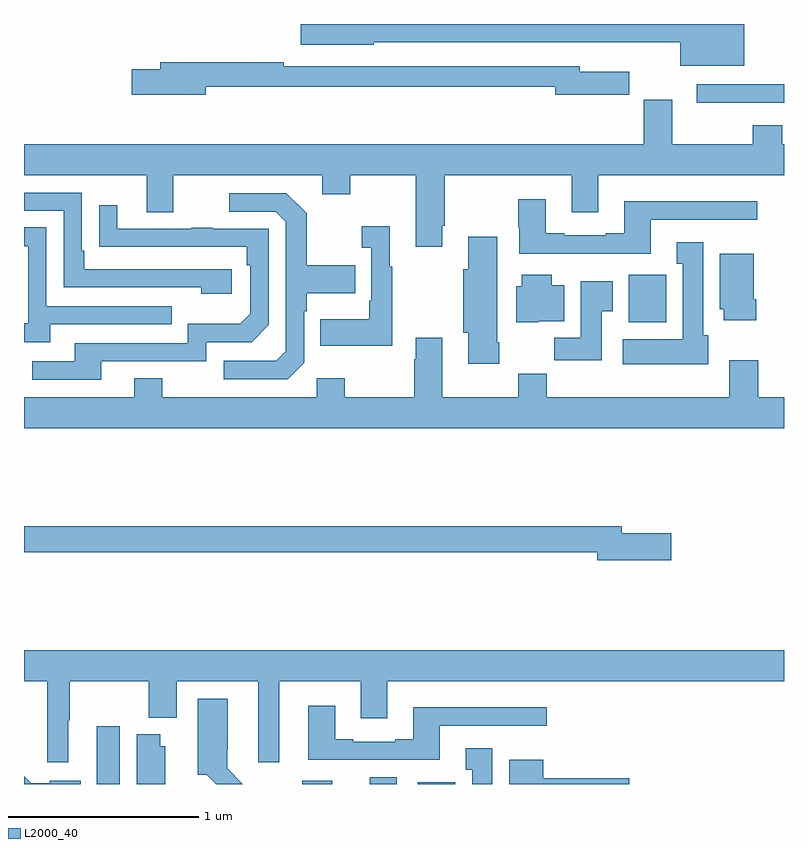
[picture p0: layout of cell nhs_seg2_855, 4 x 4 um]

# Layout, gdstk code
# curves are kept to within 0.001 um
import gdstk
lib = gdstk.Library(unit=1e-6, precision=1e-09)
def R(c, l, rs):  # rectangles x0, y0, x1, y1
    for r in rs: c.add(gdstk.rectangle(r[:2], r[2:], *l))
def P(c, l, *ps):  # polygons
    for p in ps: c.add(gdstk.Polygon(p, *l))
L2000_40 = (2000, 40)

nhs_seg2_855 = lib.new_cell('nhs_seg2_855')
R(nhs_seg2_855, L2000_40, [(155.384,609.8,155.503,610.105), (156.464,609.8,156.622,609.817), (156.821,609.8,156.961,609.835), (157.073,609.8,157.27,609.808), (158.183,612.23,158.379,612.481), (158.541,613.386,159,613.482)])
P(nhs_seg2_855, L2000_40, [(158.791,613.8),(156.456,613.8),(156.456,613.691),(156.84,613.691),(156.84,613.704),(158.02,613.704),(158.02,613.703),(158.453,613.703),(158.453,613.58),(158.791,613.58)],
  [(155.956,613.47),(157.796,613.47),(157.796,613.427),(158.072,613.427),(158.072,613.428),(158.185,613.428),(158.185,613.549),(157.924,613.549),(157.924,613.578),(156.368,613.578),(156.368,613.598),(155.717,613.598),(155.717,613.562),(155.568,613.562),(155.568,613.427),(155.956,613.427)],
  [(155,613.004),(155.645,613.004),(155.645,612.81),(155.785,612.81),(155.785,613.004),(156.569,613.004),(156.569,612.905),(156.717,612.905),(156.717,613.004),(157.061,613.004),(157.061,612.627),(157.201,612.627),(157.201,612.739),(157.214,612.739),(157.214,613.004),(157.883,613.004),(157.883,612.81),(158.023,612.81),(158.023,613.004),(159,613.004),(159,613.168),(158.991,613.168),(158.991,613.267),(158.836,613.267),(158.836,613.168),(158.413,613.168),(158.413,613.402),(158.261,613.402),(158.261,613.168),(155,613.168)],
  [(156.094,612.51),(155.317,612.51),(155.317,612.607),(155.304,612.607),(155.304,612.912),(155,612.912),(155,612.816),(155.208,612.816),(155.208,612.414),(155.933,612.414),(155.933,612.38),(156.094,612.38)],
  [(156.474,612.018),(156.474,612.287),(156.487,612.287),(156.487,612.383),(156.743,612.383),(156.743,612.531),(156.487,612.531),(156.487,612.803),(156.381,612.909),(156.081,612.909),(156.081,612.813),(156.324,612.813),(156.378,612.759),(156.378,612.078),(156.327,612.027),(156.051,612.027),(156.051,611.931),(156.387,611.931)],
  [(158.299,612.771),(158.86,612.771),(158.86,612.868),(158.159,612.868),(158.159,612.7),(158.063,612.7),(158.063,612.687),(157.843,612.687),(157.843,612.7),(157.747,612.7),(157.747,612.877),(157.6,612.877),(157.6,612.729),(157.607,612.729),(157.607,612.59),(158.299,612.59)],
  [(155.407,612.024),(155.958,612.024),(155.958,612.126),(156.198,612.126),(156.288,612.216),(156.288,612.723),(155.993,612.723),(155.993,612.728),(155.881,612.728),(155.881,612.723),(155.491,612.723),(155.491,612.847),(155.395,612.847),(155.395,612.628),(156.172,612.627),(156.172,612.53),(156.192,612.53),(156.192,612.276),(156.139,612.223),(155.862,612.223),(155.862,612.12),(155.267,612.12),(155.267,612.024),(155.043,612.024),(155.043,611.928),(155.407,611.928)],
  [(156.937,612.523),(156.925,612.523),(156.925,612.736),(156.777,612.736),(156.777,612.623),(156.828,612.623),(156.828,612.343),(156.816,612.343),(156.816,612.247),(156.559,612.247),(156.559,612.107),(156.937,612.107)],
  [(155.137,612.219),(155.777,612.219),(155.777,612.315),(155.118,612.315),(155.118,612.731),(155,612.731),(155,612.63),(155.022,612.63),(155.022,612.225),(155,612.225),(155,612.125),(155.137,612.125)],
  [(157.5,612.124),(157.492,612.124),(157.492,612.679),(157.337,612.679),(157.337,612.51),(157.313,612.51),(157.313,612.174),(157.337,612.174),(157.337,612.012),(157.5,612.012)],
  [(158.602,612.162),(158.575,612.162),(158.575,612.652),(158.435,612.652),(158.435,612.539),(158.468,612.539),(158.468,612.142),(158.151,612.142),(158.151,612.008),(158.602,612.008)],
  [(158.855,612.352),(158.842,612.352),(158.842,612.592),(158.663,612.592),(158.663,612.3),(158.684,612.3),(158.684,612.24),(158.855,612.24)],
  [(157.71,612.236),(157.843,612.236),(157.843,612.424),(157.777,612.424),(157.777,612.481),(157.619,612.481),(157.619,612.42),(157.592,612.42),(157.592,612.23),(157.71,612.23)],
  [(158.041,612.289),(158.098,612.289),(158.098,612.445),(157.931,612.445),(157.931,612.148),(157.792,612.148),(157.792,612.03),(158.041,612.03)],
  [(158.711,612.031),(158.711,611.836),(157.751,611.836),(157.751,611.96),(157.6,611.96),(157.6,611.836),(157.201,611.836),(157.201,612.148),(157.061,612.148),(157.061,612.035),(157.054,612.035),(157.054,611.836),(156.687,611.836),(156.687,611.935),(156.54,611.935),(156.54,611.836),(155.727,611.836),(155.727,611.935),(155.579,611.935),(155.579,611.836),(155,611.836),(155,611.672),(159,611.672),(159,611.836),(158.864,611.836),(158.864,612.031)],
  [(158.407,611.12),(158.146,611.12),(158.146,611.156),(155,611.156),(155,611.02),(158.018,611.02),(158.018,610.978),(158.407,610.978)],
  [(155.233,610.136),(155.241,610.136),(155.241,610.34),(155.656,610.34),(155.656,610.148),(155.803,610.148),(155.803,610.34),(156.233,610.34),(156.233,609.915),(156.343,609.915),(156.343,610.34),(156.773,610.34),(156.773,610.146),(156.913,610.146),(156.913,610.34),(159,610.34),(159,610.504),(155,610.504),(155,610.34),(155.123,610.34),(155.123,609.915),(155.233,609.915)],
  [(156.069,609.883),(156.069,609.982),(156.073,609.982),(156.073,610.249),(155.915,610.249),(155.915,609.85),(155.963,609.85),(156.013,609.8),(156.152,609.8)],
  [(157.189,610.107),(157.75,610.107),(157.75,610.204),(157.049,610.204),(157.049,610.036),(156.953,610.036),(156.953,610.023),(156.733,610.023),(156.733,610.036),(156.637,610.036),(156.637,610.213),(156.497,610.213),(156.497,609.927),(157.189,609.927)],
  [(155.743,609.999),(155.716,609.999),(155.716,610.063),(155.594,610.063),(155.594,609.8),(155.743,609.8)],
  [(157.465,609.988),(157.325,609.988),(157.325,609.875),(157.358,609.875),(157.358,609.8),(157.465,609.8)],
  [(158.185,609.83),(157.732,609.83),(157.732,609.928),(157.553,609.928),(157.553,609.8),(158.185,609.8)],
  [(155.299,609.817),(155.136,609.817),(155.136,609.805),(155.037,609.805),(155,609.842),(155,609.8),(155.299,609.8)])

lib.write_gds('nhs_seg2_855.gds')
